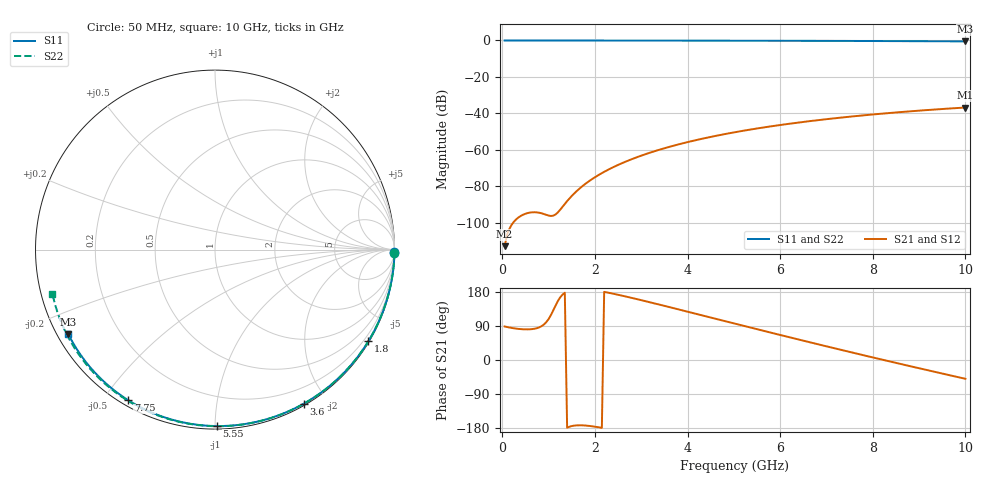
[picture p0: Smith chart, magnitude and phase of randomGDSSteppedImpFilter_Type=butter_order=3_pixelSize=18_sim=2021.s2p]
! freq	dB(S11)	phase(S11)	dB(S12)	phase(S12)
!  dB(S21)	phase(S21)	dB(S22)	phase(S22)
!S-par simulation data
#  GHz  S  DB  R 50
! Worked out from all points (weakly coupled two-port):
!   200 points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, 50 MHz to 10 GHz, reference 50 ohm
!   highest |S21| = -36.78 dB at 10 GHz (marker M1); lowest = -112.8 dB at 50 MHz (marker M2)
!   lowest |S11| = -0.5 dB at 10 GHz (marker M3), VSWR 34.18, Z = 1.57 - j13.4 ohm
!   |S11| at or under -10 dB: nowhere
!   |S22| runs from -0.5 to 0.0 dB; largest |S21 - S12| = 0
!   S11 on the Smith chart (normalised r, x): 50 MHz: open; 1.8 GHz: 0.03, -3.62; 3.6 GHz: 0.02, -1.73; 5.55 GHz: 0.02, -1.01; 7.75 GHz: 0.02, -0.58; 10 GHz: 0.03, -0.27
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0.05  -0.00 -0.9  -112.82 88.5  -112.82 88.5  -0.00 -1.0
0.45  -0.01 -7.8  -95.55 81.1  -95.55 81.1  -0.01 -8.6
0.85  -0.02 -14.7  -94.80 89.4  -94.80 89.4  -0.02 -16.2
1.25  -0.03 -21.6  -92.83 165.3  -92.83 165.3  -0.03 -23.7
1.7  -0.04 -29.2  -80.52 -172.3  -80.52 -172.3  -0.04 -32.0
1.75  -0.04 -30.0  -79.49 -172.5  -79.49 -172.5  -0.04 -32.9
1.8  -0.04 -30.8  -78.51 -173.0  -78.51 -173.0  -0.04 -33.8
2.1  -0.05 -35.9  -73.47 -178.0  -73.47 -178.0  -0.05 -39.3
2.3  -0.05 -39.2  -70.70 177.4  -70.70 177.4  -0.06 -42.9
2.5  -0.05 -42.5  -68.26 172.2  -68.26 172.2  -0.06 -46.5
2.9  -0.06 -49.0  -64.10 160.9  -64.10 160.9  -0.07 -53.6
3.4  -0.08 -57.0  -59.86 146.0  -59.86 146.0  -0.08 -62.3
3.6  -0.08 -60.1  -58.40 139.9  -58.40 139.9  -0.09 -65.8
4.3  -0.10 -70.9  -53.98 118.3  -53.98 118.3  -0.11 -77.5
5.05  -0.13 -82.1  -50.20 95.1  -50.20 95.1  -0.14 -89.7
5.55  -0.15 -89.4  -48.07 79.8  -48.07 79.8  -0.16 -97.6
6.1  -0.17 -97.3  -46.02 63.0  -46.02 63.0  -0.19 -106.1
6.7  -0.21 -105.6  -44.06 45.0  -44.06 45.0  -0.22 -115.3
7.75  -0.28 -119.9  -41.18 14.0  -41.18 14.0  -0.30 -130.9
8.35  -0.33 -127.9  -39.80 -3.3  -39.80 -3.3  -0.36 -139.8
9.2  -0.41 -139.3  -38.11 -27.4  -38.11 -27.4  -0.45 -152.5
10  -0.51 -150.0  -36.78 -49.6  -36.78 -49.6  -0.55 -164.7
